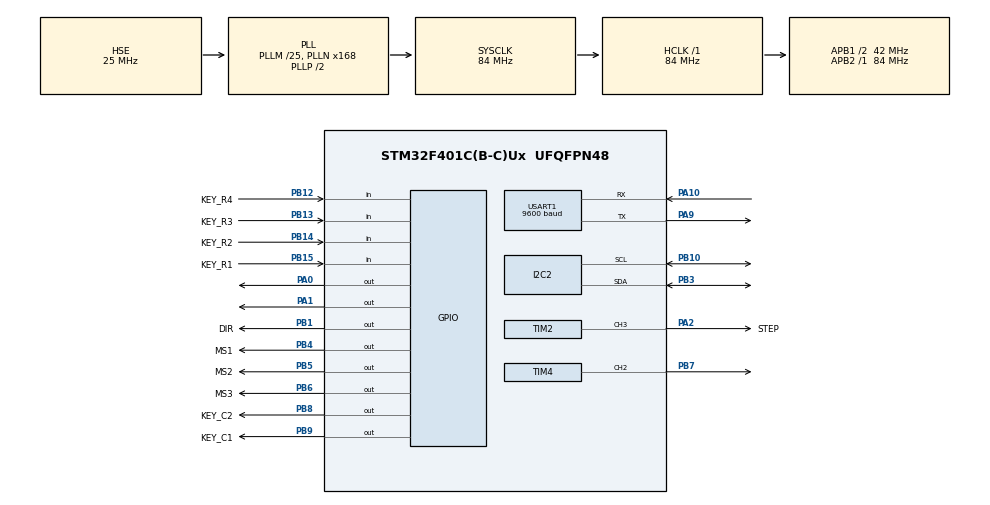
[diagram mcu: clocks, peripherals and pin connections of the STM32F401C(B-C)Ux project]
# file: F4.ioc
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Dma.Request0=USART1_RX
Dma.Request1=USART1_TX
Dma.USART1_RX.0.Direction=DMA_PERIPH_TO_MEMORY
Dma.USART1_RX.0.FIFOMode=DMA_FIFOMODE_DISABLE
Dma.USART1_RX.0.Instance=DMA2_Stream2
Dma.USART1_RX.0.MemDataAlignment=DMA_MDATAALIGN_BYTE
Dma.USART1_RX.0.MemInc=DMA_MINC_ENABLE
Dma.USART1_RX.0.Mode=DMA_NORMAL
Dma.USART1_RX.0.PeriphDataAlignment=DMA_PDATAALIGN_BYTE
Dma.USART1_RX.0.PeriphInc=DMA_PINC_DISABLE
Dma.USART1_RX.0.Priority=DMA_PRIORITY_LOW
Dma.USART1_TX.1.Direction=DMA_MEMORY_TO_PERIPH
Dma.USART1_TX.1.FIFOMode=DMA_FIFOMODE_DISABLE
Dma.USART1_TX.1.Instance=DMA2_Stream7
Dma.USART1_TX.1.MemDataAlignment=DMA_MDATAALIGN_BYTE
Dma.USART1_TX.1.MemInc=DMA_MINC_ENABLE
Dma.USART1_TX.1.Mode=DMA_NORMAL
Dma.USART1_TX.1.PeriphDataAlignment=DMA_PDATAALIGN_BYTE
Dma.USART1_TX.1.PeriphInc=DMA_PINC_DISABLE
Dma.USART1_TX.1.Priority=DMA_PRIORITY_LOW
Mcu.Family=STM32F4
Mcu.Name=STM32F401C(B-C)Ux
Mcu.Package=UFQFPN48
NVIC.DMA2_Stream2_IRQn=true\:0\:0\:false\:false\:true\:false\:true\:true
NVIC.DMA2_Stream7_IRQn=true\:0\:0\:false\:false\:true\:false\:true\:true
NVIC.PriorityGroup=NVIC_PRIORITYGROUP_4
NVIC.TIM2_IRQn=true\:0\:0\:false\:false\:true\:true\:true\:true
NVIC.TIM3_IRQn=true\:0\:0\:false\:false\:true\:true\:true\:true
NVIC.USART1_IRQn=true\:0\:0\:false\:false\:true\:true\:true\:true
PA0-WKUP.GPIO_ModeDefaultOutputPP=GPIO_MODE_OUTPUT_OD
PA0-WKUP.GPIO_PuPd=GPIO_PULLUP
PA0-WKUP.PinState=GPIO_PIN_SET
PA0-WKUP.Signal=GPIO_Output
PA1.GPIO_ModeDefaultOutputPP=GPIO_MODE_OUTPUT_OD
PA1.GPIO_PuPd=GPIO_PULLUP
PA1.PinState=GPIO_PIN_SET
PA1.Signal=GPIO_Output
PA10.Mode=Asynchronous
PA10.Signal=USART1_RX
PA13.Mode=Serial_Wire
PA13.Signal=SYS_JTMS-SWDIO
PA14.Mode=Serial_Wire
PA14.Signal=SYS_JTCK-SWCLK
PA2.GPIO_Label=STEP
PA2.Signal=S_TIM2_CH3
PA9.Mode=Asynchronous
PA9.Signal=USART1_TX
PB1.GPIO_Label=DIR
PB1.Signal=GPIO_Output
PB10.Mode=I2C
PB10.Signal=I2C2_SCL
PB12.GPIO_Label=KEY_R4
PB12.GPIO_PuPd=GPIO_PULLDOWN
PB12.Signal=GPIO_Input
PB13.GPIO_Label=KEY_R3
PB13.GPIO_PuPd=GPIO_PULLDOWN
PB13.Signal=GPIO_Input
PB14.GPIO_Label=KEY_R2
PB14.GPIO_PuPd=GPIO_PULLDOWN
PB14.Signal=GPIO_Input
PB15.GPIO_Label=KEY_R1
PB15.GPIO_PuPd=GPIO_PULLDOWN
PB15.Signal=GPIO_Input
PB3.Mode=I2C
PB3.Signal=I2C2_SDA
PB4.GPIO_Label=MS1
PB4.GPIO_PuPd=GPIO_PULLUP
PB4.Signal=GPIO_Output
PB5.GPIO_Label=MS2
PB5.GPIO_PuPd=GPIO_PULLUP
PB5.Signal=GPIO_Output
PB6.GPIO_Label=MS3
PB6.GPIO_PuPd=GPIO_PULLUP
PB6.Signal=GPIO_Output
PB7.Signal=S_TIM4_CH2
PB8.GPIO_Label=KEY_C2
PB8.Signal=GPIO_Output
PB9.GPIO_Label=KEY_C1
PB9.Signal=GPIO_Output
PH0\ -\ OSC_IN.Mode=HSE-External-Oscillator
PH0\ -\ OSC_IN.Signal=RCC_OSC_IN
PH1\ -\ OSC_OUT.Mode=HSE-External-Oscillator
PH1\ -\ OSC_OUT.Signal=RCC_OSC_OUT
ProjectManager.HeapSize=0x200
ProjectManager.StackSize=0x400
ProjectManager.TargetToolchain=MDK-ARM V5.32
RCC.48MHZClocksFreq_Value=42000000
RCC.AHBFreq_Value=84000000
RCC.APB1CLKDivider=RCC_HCLK_DIV2
RCC.APB1Freq_Value=42000000
RCC.APB1TimFreq_Value=84000000
RCC.APB2Freq_Value=84000000
RCC.APB2TimFreq_Value=84000000
RCC.CortexFreq_Value=84000000
RCC.HCLKFreq_Value=84000000
RCC.HSE_VALUE=25000000
RCC.HSI_VALUE=16000000
RCC.LSE_VALUE=32768
RCC.PLLM=25
RCC.PLLN=168
RCC.PLLSourceVirtual=RCC_PLLSOURCE_HSE
RCC.SYSCLKFreq_VALUE=84000000
RCC.SYSCLKSource=RCC_SYSCLKSOURCE_PLLCLK
RCC.VCOOutputFreq_Value=168000000
SH.S_TIM2_CH3.0=TIM2_CH3,PWM Generation3 CH3
SH.S_TIM4_CH2.0=TIM4_CH2,PWM Generation2 CH2
TIM2.Channel-PWM\ Generation3\ CH3=TIM_CHANNEL_3
TIM2.Period=1000-1
TIM2.Prescaler=84-1
TIM2.Pulse-PWM\ Generation3\ CH3=499
TIM3.Period=1000-1
TIM3.Prescaler=840-1
TIM4.Channel-PWM\ Generation2\ CH2=TIM_CHANNEL_2
TIM4.Period=1000-1
TIM4.Prescaler=84-1
TIM4.Pulse-PWM\ Generation2\ CH2=499
TIM5.Period=5000-1
TIM5.Prescaler=840-1
USART1.BaudRate=9600
USART1.VirtualMode=VM_ASYNC
VP_TIM2_VS_ClockSourceINT.Mode=Internal
VP_TIM3_VS_ClockSourceINT.Mode=Internal
VP_TIM4_VS_ClockSourceINT.Mode=Internal
VP_TIM5_VS_ClockSourceINT.Mode=Internal
VP_TIM9_VS_ClockSourceINT.Mode=Internal
board=custom

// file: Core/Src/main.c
/* USER CODE BEGIN Header */
/**
 ******************************************************************************
 * @file           : main.c
 * @brief          : Main program body
 ******************************************************************************
 * @attention
 *
 * Copyright (c) 2022 STMicroelectronics.
 * All rights reserved.
 *
 * This software is licensed under terms that can be found in the LICENSE file
 * in the root directory of this software component.
 * If no LICENSE file comes with this software, it is provided AS-IS.
 *
 ******************************************************************************
 */
/* USER CODE END Header */
#include "main.h"
#include "dma.h"
#include "i2c.h"
#include "tim.h"
#include "usart.h"
#include "gpio.h"

/* USER CODE BEGIN Includes */
#include "Delay.h"
#include "Print.h"
#include "mpu6050.h"
#include "motor.h"
#include "keyboard.h"
#include "task.h"
#include "bluetooth.h"
#include "light.h"
/* USER CODE END Includes */

/* USER CODE BEGIN PV */
int motor_speed = 0;

uint8_t motor_dir = 1;

extern int key;
extern int light;

/* USER CODE END PV */

void SystemClock_Config(void);

int main(void)
{

  /* USER CODE BEGIN 1 */
//  float pitch, roll, yaw;
  /* USER CODE END 1 */

  /* MCU Configuration--------------------------------------------------------*/

  /* Reset of all peripherals, Initializes the Flash interface and the Systick. */
  HAL_Init();

  /* Configure the system clock */
  SystemClock_Config();

  /* Initialize all configured peripherals */
  MX_GPIO_Init();
  MX_DMA_Init();
  MX_USART1_UART_Init();
  MX_TIM9_Init();
  MX_TIM2_Init();
  MX_TIM3_Init();
  MX_I2C2_Init();
  MX_TIM4_Init();
  MX_TIM5_Init();
  /* USER CODE BEGIN 2 */
  // printf("%d\r\n",);
  MPU_Init();
  printf("\r\n%d\r\n", mpu_dmp_init());
	HAL_GPIO_WritePin(GPIOB, GPIO_PIN_3, GPIO_PIN_RESET);
	HAL_GPIO_WritePin(GPIOB, GPIO_PIN_1, GPIO_PIN_SET);
	HAL_GPIO_WritePin(GPIOA, GPIO_PIN_3, GPIO_PIN_SET);
	HAL_GPIO_WritePin(GPIOA, GPIO_PIN_4, GPIO_PIN_SET);
	HAL_GPIO_WritePin(GPIOA, GPIO_PIN_5, GPIO_PIN_SET);
	HAL_TIM_Base_Start_IT(&htim2);
	HAL_TIM_Base_Start_IT(&htim3);
	HAL_TIM_Base_Start(&htim4);
	HAL_TIM_Base_Start_IT(&htim9);
	HAL_TIM_PWM_Start(&htim2,TIM_CHANNEL_3);
	HAL_TIM_PWM_Start(&htim4,TIM_CHANNEL_2);

//	HAL_UART_Receive_IT(&huart1,rx_buffer,1);
//	HAL_UARTEx_ReceiveToIdle_DMA(&huart1,usart1_rx_buf,sizeof(usart1_rx_buf));
//	__HAL_UART_ENABLE_IT(&huart1, UART_IT_RXNE);
//	SET_MOTOR_SPEED(50);
//	__HAL_TIM_SET_AUTORELOAD(&htim3,1100);
	printf("test\r\n");
  /* USER CODE END 2 */

  /* Infinite loop */
  /* USER CODE BEGIN WHILE */
  while (1)
  {
		key_scan();
    switch (key) {
      case 1:
        task1();
        break;
      case 2:
        task2();
        break;
      case 3:
        task3();
        break;
      case 4:
        task4();
        break;
      case 5:
        task5();
        break;
    }

    /* USER CODE END WHILE */

    /* USER CODE BEGIN 3 */

//   printf("%d\r\n", mpu_dmp_get_data(&pitch, &roll, &yaw));
//	 HAL_Delay(10);
//   printf("pitch:%f roll:%f yaw:%f\r\n", pitch, roll, yaw);

  }

  /* USER CODE END 3 */
}

void SystemClock_Config(void)
{
  RCC_OscInitTypeDef RCC_OscInitStruct = {0};
  RCC_ClkInitTypeDef RCC_ClkInitStruct = {0};

  /** Configure the main internal regulator output voltage
  */
  __HAL_RCC_PWR_CLK_ENABLE();
  __HAL_PWR_VOLTAGESCALING_CONFIG(PWR_REGULATOR_VOLTAGE_SCALE2);

  /** Initializes the RCC Oscillators according to the specified parameters
  * in the RCC_OscInitTypeDef structure.
  */
  RCC_OscInitStruct.OscillatorType = RCC_OSCILLATORTYPE_HSE;
  RCC_OscInitStruct.HSEState = RCC_HSE_ON;
  RCC_OscInitStruct.PLL.PLLState = RCC_PLL_ON;
  RCC_OscInitStruct.PLL.PLLSource = RCC_PLLSOURCE_HSE;
  RCC_OscInitStruct.PLL.PLLM = 25;
  RCC_OscInitStruct.PLL.PLLN = 168;
  RCC_OscInitStruct.PLL.PLLP = RCC_PLLP_DIV2;
  RCC_OscInitStruct.PLL.PLLQ = 4;
  if (HAL_RCC_OscConfig(&RCC_OscInitStruct) != HAL_OK)
  {
    Error_Handler();
  }

  /** Initializes the CPU, AHB and APB buses clocks
  */
  RCC_ClkInitStruct.ClockType = RCC_CLOCKTYPE_HCLK|RCC_CLOCKTYPE_SYSCLK
                              |RCC_CLOCKTYPE_PCLK1|RCC_CLOCKTYPE_PCLK2;
  RCC_ClkInitStruct.SYSCLKSource = RCC_SYSCLKSOURCE_PLLCLK;
  RCC_ClkInitStruct.AHBCLKDivider = RCC_SYSCLK_DIV1;
  RCC_ClkInitStruct.APB1CLKDivider = RCC_HCLK_DIV2;
  RCC_ClkInitStruct.APB2CLKDivider = RCC_HCLK_DIV1;

  if (HAL_RCC_ClockConfig(&RCC_ClkInitStruct, FLASH_LATENCY_2) != HAL_OK)
  {
    Error_Handler();
  }
}

void Error_Handler(void)
{
  __disable_irq();
  while (1)
  {
  }
}
